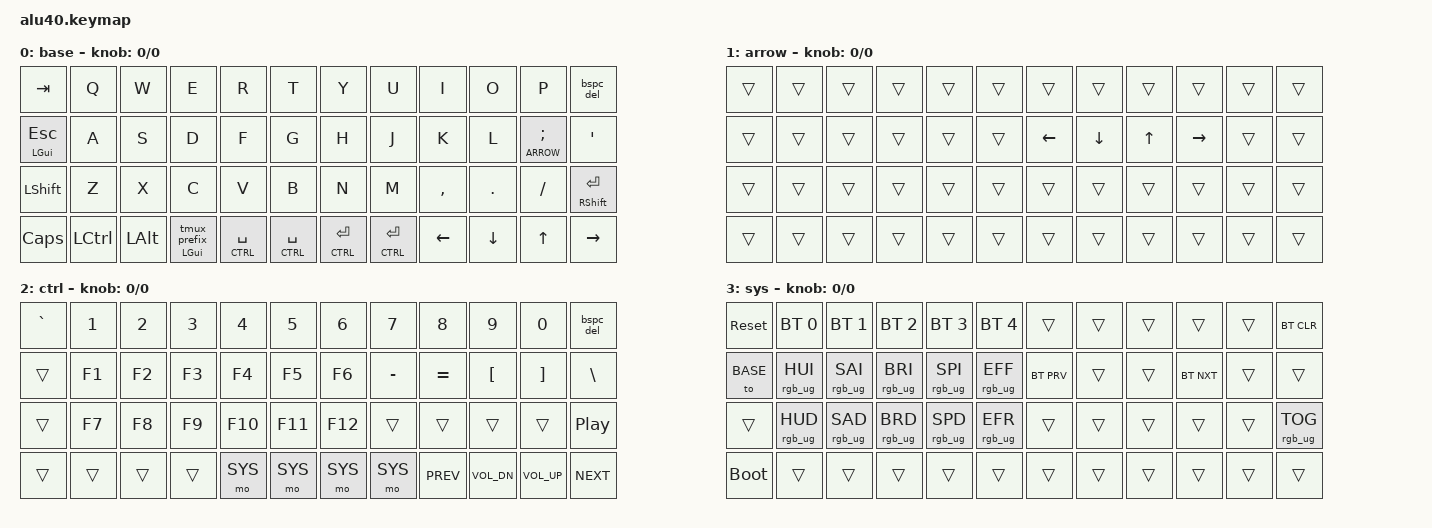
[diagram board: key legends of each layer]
/*
 * Copyright (c) 2022 The ZMK Contributors
 *
 * SPDX-License-Identifier: MIT
 */

#include <behaviors.dtsi>
#include <dt-bindings/zmk/keys.h>
#include <dt-bindings/zmk/bt.h>
#include <dt-bindings/zmk/rgb.h>

#define BASE   0
#define ARROW  1
#define CTRL   2
#define SYS    3

/ {

    macros {
        tmux_prefix: tmux_lctrl_b_prefix {
            compatible = "zmk,behavior-macro";
            #binding-cells = <0>;
            bindings
                = <&macro_press &kp LCTRL>
                , <&macro_tap &kp B>
                , <&macro_release &kp LCTRL>
                ;
        };
    };

    behaviors {
        bspc_del: backspace_delete {
            compatible = "zmk,behavior-mod-morph";
            #binding-cells = <0>;
            bindings = <&kp BACKSPACE>, <&kp DELETE>;
            mods = <(MOD_LSFT|MOD_RSFT)>;
        };

        kp_tog: key_press_toggle_layer {
            compatible = "zmk,behavior-hold-tap";
            #binding-cells = <2>;
            flavor = "hold-preferred";
            tapping-term-ms = <200>;
            bindings = <&kp>, <&tog>;
        };

        ht_tmux_ctrl: hold_tap_tmux_ctrl {
            compatible = "zmk,behavior-hold-tap";
            #binding-cells = <2>;
            flavor = "hold-preferred";
            tapping-term-ms = <200>;
            bindings = <&kp>, <&tmux_prefix>;
        };
    };

    keymap {
        compatible = "zmk,keymap";

        base {
            bindings = <
                &kp TAB           &kp Q      &kp W     &kp E                  &kp R           &kp T           &kp Y           &kp U           &kp I      &kp O     &kp P           &bspc_del
                &mt LGUI ESCAPE  &kp A      &kp S     &kp D                  &kp F           &kp G           &kp H           &kp J           &kp K      &kp L     &lt ARROW SEMI  &kp SQT
                &kp LSHFT         &kp Z      &kp X     &kp C                  &kp V           &kp B           &kp N           &kp M           &kp COMMA  &kp DOT   &kp FSLH        &mt RSHFT ENTER
                &kp CAPSLOCK      &kp LCTRL  &kp LALT   &ht_tmux_ctrl LGUI 0  &lt CTRL SPACE  &lt CTRL SPACE  &lt CTRL ENTER  &lt CTRL ENTER  &kp LEFT   &kp DOWN  &kp UP          &kp RIGHT
            >;

            sensor-bindings = <&inc_dec_kp 0 0>;
        };

        arrow {
            bindings = <
                &trans  &trans  &trans  &trans  &trans  &trans  &trans    &trans    &trans  &trans     &trans  &trans
                &trans  &trans  &trans  &trans  &trans  &trans  &kp LEFT  &kp DOWN  &kp UP  &kp RIGHT  &trans  &trans
                &trans  &trans  &trans  &trans  &trans  &trans  &trans    &trans    &trans  &trans     &trans  &trans
                &trans  &trans  &trans  &trans  &trans  &trans  &trans    &trans    &trans  &trans     &trans  &trans
            >;

            sensor-bindings = <&inc_dec_kp 0 0>;
        };

        ctrl {
            bindings = <
                &kp GRAVE  &kp N1  &kp N2  &kp N3  &kp N4   &kp N5   &kp N6   &kp N7     &kp N8      &kp N9        &kp N0        &bspc_del
                &trans     &kp F1  &kp F2  &kp F3  &kp F4   &kp F5   &kp F6   &kp MINUS  &kp EQUAL   &kp LBKT      &kp RBKT      &kp BSLH
                &trans     &kp F7  &kp F8  &kp F9  &kp F10  &kp F11  &kp F12  &trans     &trans      &trans        &trans        &kp C_PP
                &trans     &trans  &trans  &trans  &mo SYS  &mo SYS  &mo SYS  &mo SYS    &kp C_PREV  &kp C_VOL_DN  &kp C_VOL_UP  &kp C_NEXT
            >;

            sensor-bindings = <&inc_dec_kp 0 0>;
        };

        sys {
            bindings = <
                &sys_reset   &bt BT_SEL 0     &bt BT_SEL 1     &bt BT_SEL 2     &bt BT_SEL 3     &bt BT_SEL 4     &trans      &trans  &trans  &trans      &trans  &bt BT_CLR
                &to BASE     &rgb_ug RGB_HUI  &rgb_ug RGB_SAI  &rgb_ug RGB_BRI  &rgb_ug RGB_SPI  &rgb_ug RGB_EFF  &bt BT_PRV  &trans  &trans  &bt BT_NXT  &trans  &trans
                &trans       &rgb_ug RGB_HUD  &rgb_ug RGB_SAD  &rgb_ug RGB_BRD  &rgb_ug RGB_SPD  &rgb_ug RGB_EFR  &trans      &trans  &trans  &trans      &trans  &rgb_ug RGB_TOG
                &bootloader  &trans           &trans           &trans           &trans           &trans           &trans      &trans  &trans  &trans      &trans  &trans
            >;

            sensor-bindings = <&inc_dec_kp 0 0>;
        };
    };
};
